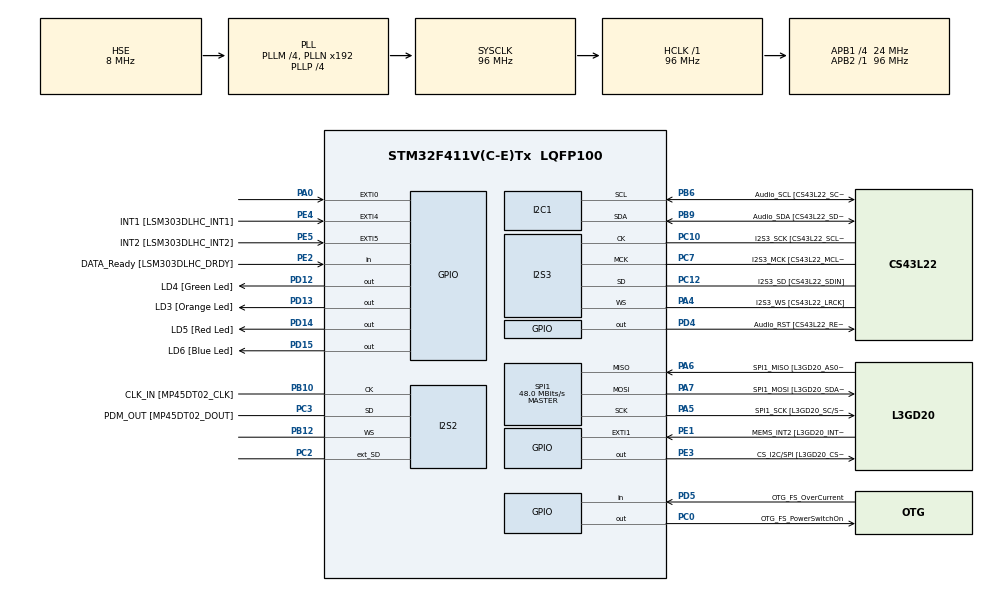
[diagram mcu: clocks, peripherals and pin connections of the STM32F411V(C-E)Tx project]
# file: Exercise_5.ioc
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FREERTOS.Tasks01=GreenLed_Task,0,128,GreenLed_Task_Start,Default,NULL,Dynamic,NULL,NULL;RedLed_Task,0,128,RedLed_Task_Start,Default,NULL,Dynamic,NULL,NULL
I2S2.AudioFreq=I2S_AUDIOFREQ_96K
I2S2.ErrorAudioFreq=0.15 %
I2S2.FullDuplexMode=I2S_FULLDUPLEXMODE_ENABLE
I2S2.Instance=SPI$Index
I2S2.RealAudioFreq=96.153 KHz
I2S2.VirtualMode=I2S_MODE_MASTER
I2S3.AudioFreq=I2S_AUDIOFREQ_96K
I2S3.ErrorAudioFreq=-6.99 %
I2S3.FullDuplexMode=I2S_FULLDUPLEXMODE_DISABLE
I2S3.Instance=SPI$Index
I2S3.RealAudioFreq=89.285 KHz
I2S3.VirtualMode=I2S_MODE_MASTER
Mcu.Family=STM32F4
Mcu.Name=STM32F411V(C-E)Tx
Mcu.Package=LQFP100
NVIC.PriorityGroup=NVIC_PRIORITYGROUP_4
NVIC.TIM1_UP_TIM10_IRQn=true\:0\:0\:false\:false\:true\:false\:false\:true
NVIC.TimeBase=TIM1_UP_TIM10_IRQn
NVIC.TimeBaseIP=TIM1
PA0-WKUP.GPIO_ModeDefaultEXTI=GPIO_MODE_EVT_RISING
PA0-WKUP.Signal=GPXTI0
PA10.GPIO_Label=OTG_FS_ID
PA10.Signal=USB_OTG_FS_ID
PA11.GPIO_Label=OTG_FS_DM
PA11.Signal=USB_OTG_FS_DM
PA12.GPIO_Label=OTG_FS_DP
PA12.Signal=USB_OTG_FS_DP
PA13.GPIO_Label=SWDIO
PA13.Mode=Serial_Wire
PA13.Signal=SYS_JTMS-SWDIO
PA14.GPIO_Label=SWCLK
PA14.Mode=Serial_Wire
PA14.Signal=SYS_JTCK-SWCLK
PA4.GPIO_Label=I2S3_WS [CS43L22_LRCK]
PA4.GPIO_Mode=GPIO_MODE_AF_PP
PA4.GPIO_PuPd=GPIO_NOPULL
PA4.GPIO_Speed=GPIO_SPEED_FREQ_LOW
PA4.Mode=Half_Duplex_Master
PA4.Signal=I2S3_WS
PA5.GPIO_Label=SPI1_SCK [L3GD20_SC/SPC]
PA5.Mode=Full_Duplex_Master
PA5.Signal=SPI1_SCK
PA6.GPIO_Label=SPI1_MISO [L3GD20_AS0/SDO]
PA6.Mode=Full_Duplex_Master
PA6.Signal=SPI1_MISO
PA7.GPIO_Label=SPI1_MOSI [L3GD20_SDA/SDI/SDO]
PA7.Mode=Full_Duplex_Master
PA7.Signal=SPI1_MOSI
PA9.GPIO_Label=VBUS_FS
PA9.Signal=USB_OTG_FS_VBUS
PB10.GPIO_Label=CLK_IN [MP45DT02_CLK]
PB10.Mode=Full_Duplex_Master
PB10.Signal=I2S2_CK
PB12.Mode=Full_Duplex_Master
PB12.Signal=I2S2_WS
PB3.GPIO_Label=SWO
PB3.Signal=SYS_JTDO-SWO
PB6.GPIO_Label=Audio_SCL [CS43L22_SCL]
PB6.GPIO_Mode=GPIO_MODE_AF_OD
PB6.GPIO_PuPd=GPIO_NOPULL
PB6.GPIO_Speed=GPIO_SPEED_FREQ_LOW
PB6.Mode=I2C
PB6.Signal=I2C1_SCL
PB9.GPIO_Label=Audio_SDA [CS43L22_SDA]
PB9.GPIO_Mode=GPIO_MODE_AF_OD
PB9.GPIO_PuPd=GPIO_NOPULL
PB9.GPIO_Speed=GPIO_SPEED_FREQ_LOW
PB9.Mode=I2C
PB9.Signal=I2C1_SDA
PC0.GPIO_Label=OTG_FS_PowerSwitchOn
PC0.PinState=GPIO_PIN_SET
PC0.Signal=GPIO_Output
PC10.GPIO_Label=I2S3_SCK [CS43L22_SCLK]
PC10.GPIO_Mode=GPIO_MODE_AF_PP
PC10.GPIO_PuPd=GPIO_NOPULL
PC10.GPIO_Speed=GPIO_SPEED_FREQ_LOW
PC10.Mode=Half_Duplex_Master
PC10.Signal=I2S3_CK
PC12.GPIO_Label=I2S3_SD [CS43L22_SDIN]
PC12.GPIO_Mode=GPIO_MODE_AF_PP
PC12.GPIO_PuPd=GPIO_NOPULL
PC12.GPIO_Speed=GPIO_SPEED_FREQ_LOW
PC12.Mode=Half_Duplex_Master
PC12.Signal=I2S3_SD
PC14-OSC32_IN.GPIO_Label=PC14-OSC32_IN
PC14-OSC32_IN.Mode=LSE-External-Oscillator
PC14-OSC32_IN.Signal=RCC_OSC32_IN
PC15-OSC32_OUT.GPIO_Label=PC15-OSC32_OUT
PC15-OSC32_OUT.Mode=LSE-External-Oscillator
PC15-OSC32_OUT.Signal=RCC_OSC32_OUT
PC2.Mode=Full_Duplex_Master
PC2.Signal=I2S2_ext_SD
PC3.GPIO_Label=PDM_OUT [MP45DT02_DOUT]
PC3.Mode=Full_Duplex_Master
PC3.Signal=I2S2_SD
PC7.GPIO_Label=I2S3_MCK [CS43L22_MCLK]
PC7.GPIO_Mode=GPIO_MODE_AF_PP
PC7.GPIO_PuPd=GPIO_NOPULL
PC7.GPIO_Speed=GPIO_SPEED_FREQ_LOW
PC7.Mode=Master_Clock_Activated
PC7.Signal=I2S3_MCK
PD12.GPIO_Label=LD4 [Green Led]
PD12.GPIO_PuPd=GPIO_NOPULL
PD12.GPIO_Speed=GPIO_SPEED_FREQ_LOW
PD12.Signal=GPIO_Output
PD13.GPIO_Label=LD3 [Orange Led]
PD13.GPIO_PuPd=GPIO_NOPULL
PD13.GPIO_Speed=GPIO_SPEED_FREQ_LOW
PD13.Signal=GPIO_Output
PD14.GPIO_Label=LD5 [Red Led]
PD14.GPIO_PuPd=GPIO_NOPULL
PD14.GPIO_Speed=GPIO_SPEED_FREQ_LOW
PD14.Signal=GPIO_Output
PD15.GPIO_Label=LD6 [Blue Led]
PD15.GPIO_PuPd=GPIO_NOPULL
PD15.GPIO_Speed=GPIO_SPEED_FREQ_LOW
PD15.Signal=GPIO_Output
PD4.GPIO_Label=Audio_RST [CS43L22_RESET]
PD4.Signal=GPIO_Output
PD5.GPIO_Label=OTG_FS_OverCurrent
PD5.Signal=GPIO_Input
PE1.GPIO_Label=MEMS_INT2 [L3GD20_INT2]
PE1.GPIO_ModeDefaultEXTI=GPIO_MODE_EVT_RISING
PE1.Signal=GPXTI1
PE2.GPIO_Label=DATA_Ready [LSM303DLHC_DRDY]
PE2.Signal=GPIO_Input
PE3.GPIO_Label=CS_I2C/SPI [L3GD20_CS_I2C/SPI]
PE3.Signal=GPIO_Output
PE4.GPIO_Label=INT1 [LSM303DLHC_INT1]
PE4.GPIO_ModeDefaultEXTI=GPIO_MODE_EVT_RISING
PE4.Signal=GPXTI4
PE5.GPIO_Label=INT2 [LSM303DLHC_INT2]
PE5.GPIO_ModeDefaultEXTI=GPIO_MODE_EVT_RISING
PE5.Signal=GPXTI5
PH0\ -\ OSC_IN.GPIO_Label=PH0-OSC_IN
PH0\ -\ OSC_IN.Mode=HSE-External-Clock-Source
PH0\ -\ OSC_IN.Signal=RCC_OSC_IN
PH1\ -\ OSC_OUT.GPIO_Label=PH1-OSC_OUT
PH1\ -\ OSC_OUT.Mode=HSE-External-Clock-Source
PH1\ -\ OSC_OUT.Signal=RCC_OSC_OUT
ProjectManager.HeapSize=0x200
ProjectManager.StackSize=0x400
ProjectManager.TargetToolchain=STM32CubeIDE
RCC.48MHZClocksFreq_Value=48000000
RCC.AHBFreq_Value=96000000
RCC.APB1CLKDivider=RCC_HCLK_DIV4
RCC.APB1Freq_Value=24000000
RCC.APB1TimFreq_Value=48000000
RCC.APB2Freq_Value=96000000
RCC.APB2TimFreq_Value=96000000
RCC.CortexFreq_Value=96000000
RCC.HCLKFreq_Value=96000000
RCC.HSE_VALUE=8000000
RCC.HSI_VALUE=16000000
RCC.PLLI2SM=5
RCC.PLLI2SN=200
RCC.PLLM=4
RCC.PLLP=RCC_PLLP_DIV4
RCC.PLLQ=8
RCC.PLLSourceVirtual=RCC_PLLSOURCE_HSE
RCC.SYSCLKFreq_VALUE=96000000
RCC.SYSCLKSource=RCC_SYSCLKSOURCE_PLLCLK
RCC.VCOOutputFreq_Value=384000000
SPI1.BaudRatePrescaler=SPI_BAUDRATEPRESCALER_2
SPI1.CalculateBaudRate=48.0 MBits/s
SPI1.Direction=SPI_DIRECTION_2LINES
SPI1.Mode=SPI_MODE_MASTER
SPI1.VirtualType=VM_MASTER
VP_FREERTOS_VS_CMSIS_V1.Mode=CMSIS_V1
VP_SYS_VS_tim1.Mode=TIM1
board=STM32F411E-DISCO

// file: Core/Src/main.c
/* USER CODE BEGIN Header */
/**
  ******************************************************************************
  * @file           : main.c
  * @brief          : Main program body
  ******************************************************************************
  * @attention
  *
  * <h2><center>&copy; Copyright (c) 2023 STMicroelectronics.
  * All rights reserved.</center></h2>
  *
  * This software component is licensed by ST under Ultimate Liberty license
  * SLA0044, the "License"; You may not use this file except in compliance with
  * the License. You may obtain a copy of the License at:
  *                             www.st.com/SLA0044
  *
  ******************************************************************************
  */
/* USER CODE END Header */

#include "main.h"
#include "cmsis_os.h"

/* USER CODE BEGIN PD */
#define green GPIO_PIN_12
#define orange GPIO_PIN_13
#define red GPIO_PIN_14
#define blue GPIO_PIN_15
/* USER CODE END PD */

I2C_HandleTypeDef hi2c1;

I2S_HandleTypeDef hi2s2;
I2S_HandleTypeDef hi2s3;

SPI_HandleTypeDef hspi1;

osThreadId GreenLed_TaskHandle;
osThreadId RedLed_TaskHandle;
/* USER CODE BEGIN PV */
int Start_Flag = 1;
/* USER CODE END PV */

void SystemClock_Config(void);
static void MX_GPIO_Init(void);
static void MX_I2C1_Init(void);
static void MX_I2S2_Init(void);
static void MX_I2S3_Init(void);
static void MX_SPI1_Init(void);
void GreenLed_Task_Start(void const * argument);
void RedLed_Task_Start(void const * argument);

int main(void)
{

  /* MCU Configuration--------------------------------------------------------*/

  /* Reset of all peripherals, Initializes the Flash interface and the Systick. */
  HAL_Init();

  /* Configure the system clock */
  SystemClock_Config();

  /* Initialize all configured peripherals */
  MX_GPIO_Init();
  MX_I2C1_Init();
  MX_I2S2_Init();
  MX_I2S3_Init();
  MX_SPI1_Init();

  /* Create the thread(s) */
  /* definition and creation of GreenLed_Task */
  osThreadDef(GreenLed_Task, GreenLed_Task_Start, osPriorityNormal, 0, 128);
  GreenLed_TaskHandle = osThreadCreate(osThread(GreenLed_Task), NULL);

  /* definition and creation of RedLed_Task */
  osThreadDef(RedLed_Task, RedLed_Task_Start, osPriorityNormal, 0, 128);
  RedLed_TaskHandle = osThreadCreate(osThread(RedLed_Task), NULL);

  /* Start scheduler */
  osKernelStart();

  /* We should never get here as control is now taken by the scheduler */

  /* Infinite loop */
  while (1)
  {

  }
}

void SystemClock_Config(void)
{
  RCC_OscInitTypeDef RCC_OscInitStruct = {0};
  RCC_ClkInitTypeDef RCC_ClkInitStruct = {0};
  RCC_PeriphCLKInitTypeDef PeriphClkInitStruct = {0};

  /** Configure the main internal regulator output voltage
  */
  __HAL_RCC_PWR_CLK_ENABLE();
  __HAL_PWR_VOLTAGESCALING_CONFIG(PWR_REGULATOR_VOLTAGE_SCALE1);
  /** Initializes the CPU, AHB and APB busses clocks
  */
  RCC_OscInitStruct.OscillatorType = RCC_OSCILLATORTYPE_HSE;
  RCC_OscInitStruct.HSEState = RCC_HSE_BYPASS;
  RCC_OscInitStruct.PLL.PLLState = RCC_PLL_ON;
  RCC_OscInitStruct.PLL.PLLSource = RCC_PLLSOURCE_HSE;
  RCC_OscInitStruct.PLL.PLLM = 4;
  RCC_OscInitStruct.PLL.PLLN = 192;
  RCC_OscInitStruct.PLL.PLLP = RCC_PLLP_DIV4;
  RCC_OscInitStruct.PLL.PLLQ = 8;
  if (HAL_RCC_OscConfig(&RCC_OscInitStruct) != HAL_OK)
  {
    Error_Handler();
  }
  /** Initializes the CPU, AHB and APB busses clocks
  */
  RCC_ClkInitStruct.ClockType = RCC_CLOCKTYPE_HCLK|RCC_CLOCKTYPE_SYSCLK
                              |RCC_CLOCKTYPE_PCLK1|RCC_CLOCKTYPE_PCLK2;
  RCC_ClkInitStruct.SYSCLKSource = RCC_SYSCLKSOURCE_PLLCLK;
  RCC_ClkInitStruct.AHBCLKDivider = RCC_SYSCLK_DIV1;
  RCC_ClkInitStruct.APB1CLKDivider = RCC_HCLK_DIV4;
  RCC_ClkInitStruct.APB2CLKDivider = RCC_HCLK_DIV1;

  if (HAL_RCC_ClockConfig(&RCC_ClkInitStruct, FLASH_LATENCY_3) != HAL_OK)
  {
    Error_Handler();
  }
  PeriphClkInitStruct.PeriphClockSelection = RCC_PERIPHCLK_I2S;
  PeriphClkInitStruct.PLLI2S.PLLI2SN = 200;
  PeriphClkInitStruct.PLLI2S.PLLI2SM = 5;
  PeriphClkInitStruct.PLLI2S.PLLI2SR = 2;
  if (HAL_RCCEx_PeriphCLKConfig(&PeriphClkInitStruct) != HAL_OK)
  {
    Error_Handler();
  }
}

static void MX_I2C1_Init(void)
{

  hi2c1.Instance = I2C1;
  hi2c1.Init.ClockSpeed = 100000;
  hi2c1.Init.DutyCycle = I2C_DUTYCYCLE_2;
  hi2c1.Init.OwnAddress1 = 0;
  hi2c1.Init.AddressingMode = I2C_ADDRESSINGMODE_7BIT;
  hi2c1.Init.DualAddressMode = I2C_DUALADDRESS_DISABLE;
  hi2c1.Init.OwnAddress2 = 0;
  hi2c1.Init.GeneralCallMode = I2C_GENERALCALL_DISABLE;
  hi2c1.Init.NoStretchMode = I2C_NOSTRETCH_DISABLE;
  if (HAL_I2C_Init(&hi2c1) != HAL_OK)
  {
    Error_Handler();
  }

}

static void MX_I2S2_Init(void)
{

  hi2s2.Instance = SPI2;
  hi2s2.Init.Mode = I2S_MODE_MASTER_TX;
  hi2s2.Init.Standard = I2S_STANDARD_PHILIPS;
  hi2s2.Init.DataFormat = I2S_DATAFORMAT_16B;
  hi2s2.Init.MCLKOutput = I2S_MCLKOUTPUT_DISABLE;
  hi2s2.Init.AudioFreq = I2S_AUDIOFREQ_96K;
  hi2s2.Init.CPOL = I2S_CPOL_LOW;
  hi2s2.Init.ClockSource = I2S_CLOCK_PLL;
  hi2s2.Init.FullDuplexMode = I2S_FULLDUPLEXMODE_ENABLE;
  if (HAL_I2S_Init(&hi2s2) != HAL_OK)
  {
    Error_Handler();
  }

}

static void MX_I2S3_Init(void)
{

  hi2s3.Instance = SPI3;
  hi2s3.Init.Mode = I2S_MODE_MASTER_TX;
  hi2s3.Init.Standard = I2S_STANDARD_PHILIPS;
  hi2s3.Init.DataFormat = I2S_DATAFORMAT_16B;
  hi2s3.Init.MCLKOutput = I2S_MCLKOUTPUT_ENABLE;
  hi2s3.Init.AudioFreq = I2S_AUDIOFREQ_96K;
  hi2s3.Init.CPOL = I2S_CPOL_LOW;
  hi2s3.Init.ClockSource = I2S_CLOCK_PLL;
  hi2s3.Init.FullDuplexMode = I2S_FULLDUPLEXMODE_DISABLE;
  if (HAL_I2S_Init(&hi2s3) != HAL_OK)
  {
    Error_Handler();
  }

}

static void MX_SPI1_Init(void)
{

  /* SPI1 parameter configuration*/
  hspi1.Instance = SPI1;
  hspi1.Init.Mode = SPI_MODE_MASTER;
  hspi1.Init.Direction = SPI_DIRECTION_2LINES;
  hspi1.Init.DataSize = SPI_DATASIZE_8BIT;
  hspi1.Init.CLKPolarity = SPI_POLARITY_LOW;
  hspi1.Init.CLKPhase = SPI_PHASE_1EDGE;
  hspi1.Init.NSS = SPI_NSS_SOFT;
  hspi1.Init.BaudRatePrescaler = SPI_BAUDRATEPRESCALER_2;
  hspi1.Init.FirstBit = SPI_FIRSTBIT_MSB;
  hspi1.Init.TIMode = SPI_TIMODE_DISABLE;
  hspi1.Init.CRCCalculation = SPI_CRCCALCULATION_DISABLE;
  hspi1.Init.CRCPolynomial = 10;
  if (HAL_SPI_Init(&hspi1) != HAL_OK)
  {
    Error_Handler();
  }

}

static void MX_GPIO_Init(void)
{
  GPIO_InitTypeDef GPIO_InitStruct = {0};

  /* GPIO Ports Clock Enable */
  __HAL_RCC_GPIOE_CLK_ENABLE();
  __HAL_RCC_GPIOC_CLK_ENABLE();
  __HAL_RCC_GPIOH_CLK_ENABLE();
  __HAL_RCC_GPIOA_CLK_ENABLE();
  __HAL_RCC_GPIOB_CLK_ENABLE();
  __HAL_RCC_GPIOD_CLK_ENABLE();

  /*Configure GPIO pin Output Level */
  HAL_GPIO_WritePin(CS_I2C_SPI_GPIO_Port, CS_I2C_SPI_Pin, GPIO_PIN_RESET);

  /*Configure GPIO pin Output Level */
  HAL_GPIO_WritePin(OTG_FS_PowerSwitchOn_GPIO_Port, OTG_FS_PowerSwitchOn_Pin, GPIO_PIN_SET);

  /*Configure GPIO pin Output Level */
  HAL_GPIO_WritePin(GPIOD, LD4_Pin|LD3_Pin|LD5_Pin|LD6_Pin
                          |Audio_RST_Pin, GPIO_PIN_RESET);

  /*Configure GPIO pin : DATA_Ready_Pin */
  GPIO_InitStruct.Pin = DATA_Ready_Pin;
  GPIO_InitStruct.Mode = GPIO_MODE_INPUT;
  GPIO_InitStruct.Pull = GPIO_NOPULL;
  HAL_GPIO_Init(DATA_Ready_GPIO_Port, &GPIO_InitStruct);

  /*Configure GPIO pin : CS_I2C_SPI_Pin */
  GPIO_InitStruct.Pin = CS_I2C_SPI_Pin;
  GPIO_InitStruct.Mode = GPIO_MODE_OUTPUT_PP;
  GPIO_InitStruct.Pull = GPIO_NOPULL;
  GPIO_InitStruct.Speed = GPIO_SPEED_FREQ_LOW;
  HAL_GPIO_Init(CS_I2C_SPI_GPIO_Port, &GPIO_InitStruct);

  /*Configure GPIO pins : INT1_Pin INT2_Pin MEMS_INT2_Pin */
  GPIO_InitStruct.Pin = INT1_Pin|INT2_Pin|MEMS_INT2_Pin;
  GPIO_InitStruct.Mode = GPIO_MODE_EVT_RISING;
  GPIO_InitStruct.Pull = GPIO_NOPULL;
  HAL_GPIO_Init(GPIOE, &GPIO_InitStruct);

  /*Configure GPIO pin : OTG_FS_PowerSwitchOn_Pin */
  GPIO_InitStruct.Pin = OTG_FS_PowerSwitchOn_Pin;
  GPIO_InitStruct.Mode = GPIO_MODE_OUTPUT_PP;
  GPIO_InitStruct.Pull = GPIO_NOPULL;
  GPIO_InitStruct.Speed = GPIO_SPEED_FREQ_LOW;
  HAL_GPIO_Init(OTG_FS_PowerSwitchOn_GPIO_Port, &GPIO_InitStruct);

  /*Configure GPIO pin : PA0 */
  GPIO_InitStruct.Pin = GPIO_PIN_0;
  GPIO_InitStruct.Mode = GPIO_MODE_EVT_RISING;
  GPIO_InitStruct.Pull = GPIO_NOPULL;
  HAL_GPIO_Init(GPIOA, &GPIO_InitStruct);

  /*Configure GPIO pins : LD4_Pin LD3_Pin LD5_Pin LD6_Pin
                           Audio_RST_Pin */
  GPIO_InitStruct.Pin = LD4_Pin|LD3_Pin|LD5_Pin|LD6_Pin
                          |Audio_RST_Pin;
  GPIO_InitStruct.Mode = GPIO_MODE_OUTPUT_PP;
  GPIO_InitStruct.Pull = GPIO_NOPULL;
  GPIO_InitStruct.Speed = GPIO_SPEED_FREQ_LOW;
  HAL_GPIO_Init(GPIOD, &GPIO_InitStruct);

  /*Configure GPIO pin : VBUS_FS_Pin */
  GPIO_InitStruct.Pin = VBUS_FS_Pin;
  GPIO_InitStruct.Mode = GPIO_MODE_INPUT;
  GPIO_InitStruct.Pull = GPIO_NOPULL;
  HAL_GPIO_Init(VBUS_FS_GPIO_Port, &GPIO_InitStruct);

  /*Configure GPIO pins : OTG_FS_ID_Pin OTG_FS_DM_Pin OTG_FS_DP_Pin */
  GPIO_InitStruct.Pin = OTG_FS_ID_Pin|OTG_FS_DM_Pin|OTG_FS_DP_Pin;
  GPIO_InitStruct.Mode = GPIO_MODE_AF_PP;
  GPIO_InitStruct.Pull = GPIO_NOPULL;
  GPIO_InitStruct.Speed = GPIO_SPEED_FREQ_VERY_HIGH;
  GPIO_InitStruct.Alternate = GPIO_AF10_OTG_FS;
  HAL_GPIO_Init(GPIOA, &GPIO_InitStruct);

  /*Configure GPIO pin : OTG_FS_OverCurrent_Pin */
  GPIO_InitStruct.Pin = OTG_FS_OverCurrent_Pin;
  GPIO_InitStruct.Mode = GPIO_MODE_INPUT;
  GPIO_InitStruct.Pull = GPIO_NOPULL;
  HAL_GPIO_Init(OTG_FS_OverCurrent_GPIO_Port, &GPIO_InitStruct);

}

/* USER CODE BEGIN 4 */
void Access_Function()
{
	if (Start_Flag == 1) // flag check
	{
		Start_Flag = 0;
	}
	else
	{
		HAL_GPIO_TogglePin(GPIOD, blue); // toggle blue led
	}
	for(int i = 0; i < 500000; i++); // delay 500 ms
	Start_Flag = 1; // reset flag
}
/* USER CODE END 4 */

void GreenLed_Task_Start(void const * argument)
{
  /* USER CODE BEGIN 5 */
  /* Infinite loop */
  for(;;)
  {
	  HAL_GPIO_WritePin(GPIOD, green, GPIO_PIN_SET); // turn on green led
	  Access_Function();// use shared resource
	  HAL_GPIO_WritePin(GPIOD, green, GPIO_PIN_RESET);// turn off green led
	  vTaskDelay(500);// 500 ms os delay

  }
  /* USER CODE END 5 */
}

void RedLed_Task_Start(void const * argument)
{
  /* USER CODE BEGIN RedLed_Task_Start */
  /* Infinite loop */
  for(;;)
  {
	  HAL_GPIO_WritePin(GPIOD, red, GPIO_PIN_SET);// turn on green led
	  Access_Function();// use shared resource
	  HAL_GPIO_WritePin(GPIOD, red, GPIO_PIN_RESET);// turn off green led
	  vTaskDelay(100);// 100 ms os delay
  }
  /* USER CODE END RedLed_Task_Start */
}

void HAL_TIM_PeriodElapsedCallback(TIM_HandleTypeDef *htim)
{
  if (htim->Instance == TIM1) {
    HAL_IncTick();
  }
}

void Error_Handler(void)
{
}

/************************ (C) COPYRIGHT STMicroelectronics *****END OF FILE****/

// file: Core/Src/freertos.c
/* USER CODE BEGIN Header */
/**
  ******************************************************************************
  * File Name          : freertos.c
  * Description        : Code for freertos applications
  ******************************************************************************
  * @attention
  *
  * <h2><center>&copy; Copyright (c) 2023 STMicroelectronics.
  * All rights reserved.</center></h2>
  *
  * This software component is licensed by ST under Ultimate Liberty license
  * SLA0044, the "License"; You may not use this file except in compliance with
  * the License. You may obtain a copy of the License at:
  *                             www.st.com/SLA0044
  *
  ******************************************************************************
  */
/* USER CODE END Header */

#include "FreeRTOS.h"
#include "task.h"
#include "main.h"

/* GetIdleTaskMemory prototype (linked to static allocation support) */
void vApplicationGetIdleTaskMemory( StaticTask_t **ppxIdleTaskTCBBuffer, StackType_t **ppxIdleTaskStackBuffer, uint32_t *pulIdleTaskStackSize );

/* USER CODE BEGIN GET_IDLE_TASK_MEMORY */
static StaticTask_t xIdleTaskTCBBuffer;
static StackType_t xIdleStack[configMINIMAL_STACK_SIZE];

void vApplicationGetIdleTaskMemory( StaticTask_t **ppxIdleTaskTCBBuffer, StackType_t **ppxIdleTaskStackBuffer, uint32_t *pulIdleTaskStackSize )
{
  *ppxIdleTaskTCBBuffer = &xIdleTaskTCBBuffer;
  *ppxIdleTaskStackBuffer = &xIdleStack[0];
  *pulIdleTaskStackSize = configMINIMAL_STACK_SIZE;
  /* place for user code */
}
/* USER CODE END GET_IDLE_TASK_MEMORY */

/************************ (C) COPYRIGHT STMicroelectronics *****END OF FILE****/
